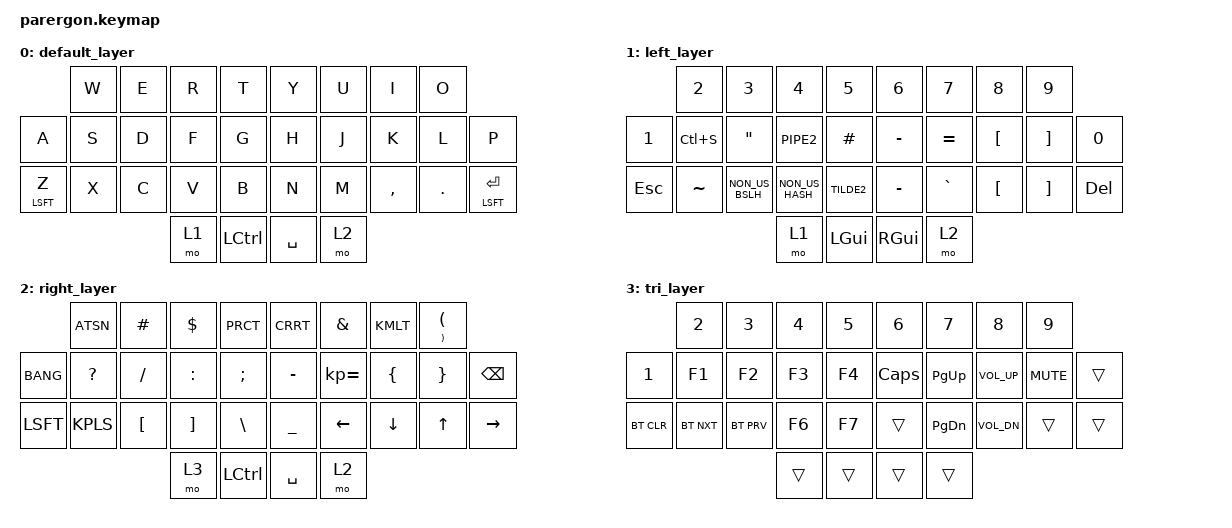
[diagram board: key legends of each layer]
/*
 * Copyright (c) 2020 The ZMK Contributors
 *
 * SPDX-License-Identifier: MIT
 */


#include <behaviors.dtsi>
#include <dt-bindings/zmk/keys.h>
#include <dt-bindings/zmk/bt.h>

#define DEFAULT 0
#define LOWER   1
#define RAISE   2
#define TRI     3


&mt {

};


/ { 

    combos {
        compatible = "zmk,combos";
            combo_esc {
            timeout-ms = <50>;
            key-positions = <0 1>;
            bindings = <&kp ESC> ;
        };
        
            combo_esc2 {
            timeout-ms = <50>;
            key-positions = <1 2>;
            bindings = <&kp ESC> ;
        };
      
            combo_tab {
            timeout-ms = <50>;
            key-positions = <8 9>;
            bindings = <&kp TAB>;
        };
        
  
            combo_lgui {
            timeout-ms = <50>;
            key-positions = <9 10 >;
            bindings = <&kp LGUI>;
        };

     

                  combo_lalt {
            timeout-ms = <50>;
            key-positions = <11 12>;
            bindings = <&kp LALT>;
        };

               combo_ralt {
            timeout-ms = <50>;
            key-positions = <13 14>;
            bindings = <&kp RALT>;
        };

            combo_rgui {
            timeout-ms = <50>;
            key-positions = <13 14>;
            bindings = <&kp RGUI>;
        };
        
            combo_del {
            timeout-ms = <50>;
            key-positions = <16 17>;
            bindings = <&kp BKSP>;
        };
        
            combo_q {
            timeout-ms = <50>;
            key-positions = <8 18>;
            bindings = <&kp Q>;
        };
        
            combo_sp {
            timeout-ms = <50>;
            key-positions = <17 27>;
            bindings = <&kp QUOT>;
        };

            combo_bsp {
            timeout-ms = <50>;
            key-positions = <16 17>;
            bindings = <&kp BKSP>;
        };

    };
    
    
     behaviors {
        
	td: tapdance {
            compatible = "zmk,behavior-hold-tap";
            label = "TAPDANCE";
            #binding-cells = <2>;
            tapping-term-ms = <150>;
            quick_tap_ms = <0>;
            flavor = "tap-preferred";
            bindings = <&kp>, <&kp>;
        };
	
    };

        keymap {
                compatible = "zmk,keymap";
                
       		default_layer {
		bindings = <

                         		  // (0)         (1)               (2)                 (3)                 (4)         (5)     (6)         (7)
		 	                &kp W       &kp E               &kp R               &kp T 			    &kp Y       &kp U   &kp I       &kp O   
           			 //  (8)         (9)         (10)                (11)                (12)                (13)        (14)    (15)        (16)         (17)
				&kp A 	    &kp S       &kp D               &kp F               &kp G 			    &kp H       &kp J   &kp K       &kp L 	    &kp P
		    //  (18)        (19)         (20)               (21)                (22)                (23)        (24)    (25)        (26)         (27)
                &mt LSFT Z	&kp X       &kp C               &kp V               &kp B			    &kp N       &kp M   &kp CMMA    &kp DOT 	&mt LSFT RET
                                                    //      (28)                (29)                (30)        (31)
          				                                    &mo 1               &kp LCTL  		    &kp SPC     &mo 2 
		>;
		};

       
        //mo1
		left_layer {
		bindings = <
		                &kp NUM_2       &kp NUM_3           &kp NUM_4           &kp NUM_5		        &kp NUM_6   &kp NUM_7       &kp NUM_8   &kp NUM_9 
		&kp NUM_1       &kp LC(S)       &kp DQT             &kp PIPE2           &kp HASH 		        &kp MINUS   &kp EQL         &kp LBKT    &kp RBKT        &kp NUM_0
		&kp ESC         &kp TILDE 	    &kp NON_US_BSLH     &kp NON_US_HASH     &kp TILDE2 	            &kp MINUS   &kp GRAVE       &kp LBKT    &kp RBKT        &kp DEL 
		                    
                                                            &mo 1               &kp LGUI  			    &kp RGUI    &mo 2 
		>;
		};
	
    
        //mo2
		right_layer {
		bindings = <
		                &kp ATSN        &kp HASH            &kp DLLR            &kp PRCT    			&kp CRRT    &kp AMPS        &kp KMLT    &td RPRN LPRN     
		&kp BANG        &kp QMARK       &kp FSLH            &kp COLN            &kp SCLN 			    &kp MINUS   &kp KP_EQUAL    &kp LBRC    &kp RBRC        &kp BKSP
		&kp LSFT        &kp KPLS        &kp LBKT            &kp RBKT            &kp BSLH    			&kp UNDER   &kp LEFT        &kp DOWN    &kp UP          &kp RIGHT

					                                        &mo 3               &kp LCTL  				&kp SPC     &mo 2 
		>;
		};	
		
		tri_layer {
		bindings = <
		                &kp NUM_2       &kp NUM_3           &kp NUM_4          &kp NUM_5 			    &kp NUM_6   &kp NUM_7       &kp NUM_8       &kp NUM_9 
		&kp NUM_1       &kp F1          &kp F2              &kp F3             &kp F4 					&kp CAPS    &kp PG_UP       &kp K_VOL_UP    &kp K_MUTE  &trans 
		&bt BT_CLR      &bt BT_NXT      &bt BT_PRV          &kp F6             &kp F7   				&trans      &kp PG_DN       &kp K_VOL_DN    &trans      &trans   
		
        			                                        &trans             &trans  				    &trans      &trans 
		>;
		};	
	};
};
